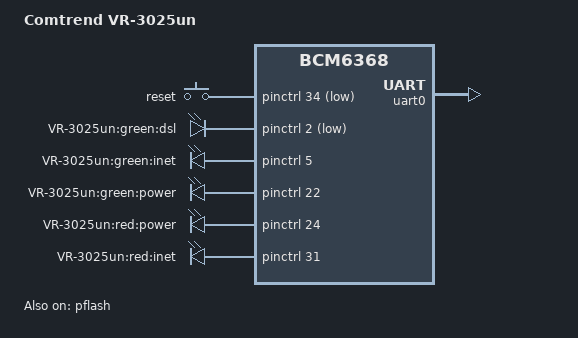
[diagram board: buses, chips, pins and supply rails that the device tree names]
/dts-v1/;

#include "bcm6368.dtsi"

#include <dt-bindings/input/input.h>

/ {
	model = "Comtrend VR-3025un";
	compatible = "comtrend,vr-3025un", "brcm,bcm6368";

	chosen {
		bootargs = "root=/dev/mtdblock2 rootfstype=squashfs,jffs2 noinitrd console=ttyS0,115200";
		stdout-path = "serial0:115200n8";
	};

	gpio-keys-polled {
		compatible = "gpio-keys-polled";
		#address-cells = <1>;
		#size-cells = <0>;
		poll-interval = <20>;
		debounce-interval = <60>;

		reset {
			label = "reset";
			gpios = <&pinctrl 34 1>;
			linux,code = <KEY_RESTART>;
		};
	};

	gpio-leds {
		compatible = "gpio-leds";

		dsl_green {
			label = "VR-3025un:green:dsl";
			gpios = <&pinctrl 2 1>;
		};
		inet_green {
			label = "VR-3025un:green:inet";
			gpios = <&pinctrl 5 0>;
		};
		power_green {
			label = "VR-3025un:green:power";
			gpios = <&pinctrl 22 0>;
			default-state = "on";
		};
		power_red {
			label = "VR-3025un:red:power";
			gpios = <&pinctrl 24 0>;
		};
		inet_red {
			label = "VR-3025un:red:inet";
			gpios = <&pinctrl 31 0>;
		};
	};
};

&pflash {
	status = "ok";

	linux,part-probe = "bcm63xxpart";

	cfe@0 {
		label = "CFE";
		reg = <0x000000 0x010000>;
		read-only;
	};

	linux@10000 {
		label = "linux";
		reg = <0x010000 0x7e0000>;
	};

	nvram@7f0000 {
		label = "nvram";
		reg = <0x7f0000 0x010000>;
	};
};

&pinctrl {
	pinctrl-names = "default";
	pinctrl-0 = <&pinctrl_pci &pinctrl_ephy0_led &pinctrl_ephy1_led
		     &pinctrl_ephy2_led &pinctrl_ephy3_led>;
};

&uart0 {
	status = "ok";
};
